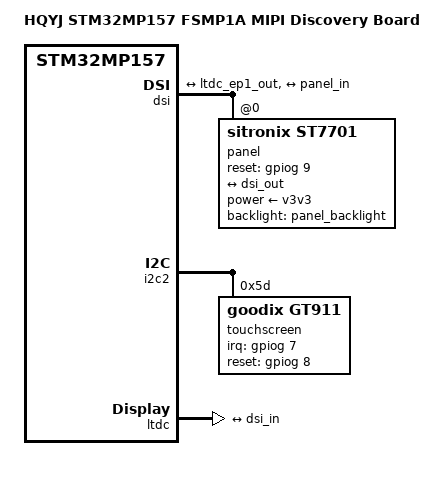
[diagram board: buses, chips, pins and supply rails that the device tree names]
// SPDX-License-Identifier: (GPL-2.0+ OR BSD-3-Clause)
/*
 * Copyright (C) STMicroelectronics 2019 - All Rights Reserved
 * Author: Alexandre Torgue <alexandre.torgue@st.com> for STMicroelectronics.
 */

/dts-v1/;

#include "stm32mp157a-fsmp1a.dts"

/ {
	model = "HQYJ STM32MP157 FSMP1A MIPI Discovery Board";
	compatible = "st,stm32mp157a-fsmp1a-mipi050", "st,stm32mp157";
};

&dsi {
	#address-cells = <1>;
	#size-cells = <0>;
	status = "okay";

	ports {
		#address-cells = <1>;
		#size-cells = <0>;

		port@0 {
			reg = <0>;
			dsi_in: endpoint {
				remote-endpoint = <&ltdc_ep1_out>;
			};
		};

		port@1 {
			reg = <1>;
			dsi_out: endpoint {
				remote-endpoint = <&panel_in>;
			};
		};
	};

	panel: panel@0 {
		compatible = "sitronix,st7701";
		reg = <0>;
		reset-gpios = <&gpiog 9 GPIO_ACTIVE_HIGH>;
		backlight = <&panel_backlight>;
		power-supply = <&v3v3>;
		status = "okay";

		port {
			panel_in: endpoint {
				remote-endpoint = <&dsi_out>;
			};
		};
	};
};

&i2c2 {
	pinctrl-names = "default", "sleep";
	pinctrl-0 = <&i2c2_pins_a>;
	pinctrl-1 = <&i2c2_pins_sleep_a>;
	i2c-scl-rising-time-ns = <100>;
	i2c-scl-falling-time-ns = <7>;
	status = "okay";
	/delete-property/dmas;
	/delete-property/dma-names;

	touchscreen@5d {
		compatible = "goodix,gt911";
		reg = <0x5d>;
		irq-gpios = <&gpiog 7 (GPIO_ACTIVE_HIGH | GPIO_PULL_UP)>;
		reset-gpios = <&gpiog 8	GPIO_ACTIVE_HIGH>;
		interrupt-parent = <&gpiog>;
		interrupts = <7 IRQ_TYPE_EDGE_FALLING>;
		status = "okay";

		// touchscreen-inverted-x;
		touchscreen-inverted-y;
		// touchscreen-swapped-x-y;
	};
};

&ltdc {
	status = "okay";

	port {
		#address-cells = <1>;
		#size-cells = <0>;

		ltdc_ep1_out: endpoint@1 {
			reg = <1>;
			remote-endpoint = <&dsi_in>;
		};
	};
};

